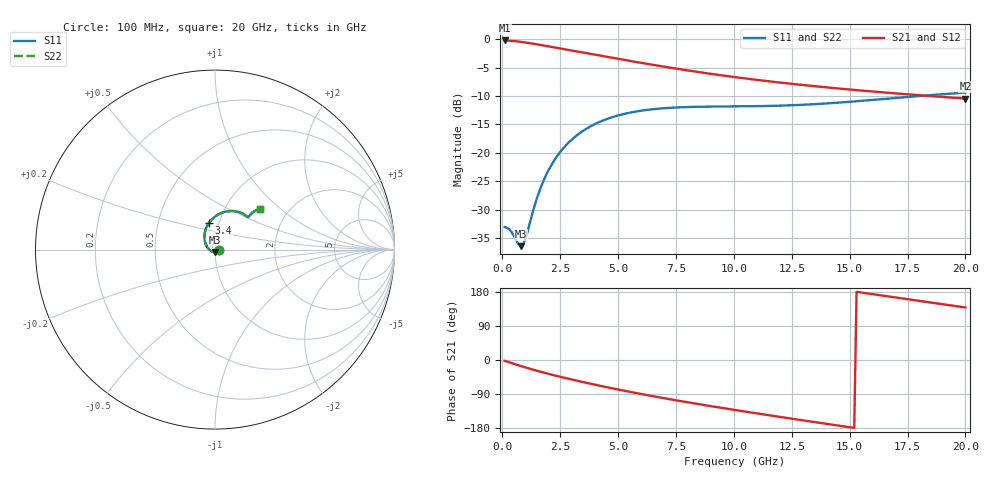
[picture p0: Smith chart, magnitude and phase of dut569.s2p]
! Touchstone file exported from HFSS 2024.1.0
!  File:  C:/UserFiles/LocalFiles/RDL_TSV_Batchsim/temp_RDL_TSV_569_1779754287.aedt
!  Generated:  08:24:17 AM May 26, 2026
!  Design:  RDL_TSV
!  Project:  temp_RDL_TSV_569_1779754287
!  Setup:  Setup1
!  Solution:  Sweep
! Variables:
!  dtsv = 14.09um
!  hbump = 3um
!  htsv = 82.66um
!  ldown = 628.71um
!  lrdl = 243.59um
!  p = 40
!  p1 = 49.43um
!  rhole = 10um
!  subl = 2860.49um
!  t = 450um
!  tdown = 2.73um
!  trdl = 2.53um
!  viad = 10um
!  wdown = 25.61um
!  wrdl = 10.5um
!  xbump = 18um
# GHz S MA R 50.000000
! Terminal data exported
! Port[1] = TM1_1_T1
! Port[2] = TM1_4_T1
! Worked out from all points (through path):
!   200 points, 100 MHz to 20 GHz, reference 50 ohm
!   highest |S21| = -0.20 dB at 100 MHz (marker M1); lowest = -10.4 dB at 20 GHz (marker M2)
!   group delay of S21, straight-line fit = 28.9 ps
!   lowest |S11| = -36.4 dB at 800 MHz (marker M3), VSWR 1.03, Z = 49.9 - j1.5 ohm
!   |S11| at or under -10 dB: start of sweep to 17.97 GHz
!   |S22| runs from -36.4 to -9.4 dB; largest |S21 - S12| = 7.6e-14
!   S11 on the Smith chart (normalised r, x): 100 MHz: 1.05, -0.01; 3.4 GHz: 0.90, +0.27; 20 GHz: 1.45, +0.74
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0.1  0.02223 -6.6  0.977 -2.1  0.977 -2.1  0.02223 -6.6
! Gamma 0 0 0 0
! Port Impedance 50 0 50 0
0.3  0.02122 -22.6  0.9724 -6.2  0.9724 -6.2  0.02122 -22.7
0.7  0.0157 -74.4  0.9552 -14.1  0.9552 -14.1  0.01571 -74.4
0.8  0.01508 -94.1  0.9497 -16.0  0.9497 -16.0  0.01509 -94.0
0.9  0.01562 -115.2  0.9437 -17.9  0.9437 -17.9  0.01562 -115.2
1  0.0175 -135.1  0.9375 -19.7  0.9375 -19.7  0.0175 -135.0
1.5  0.04011 168.1  0.9027 -28.5  0.9027 -28.5  0.04008 168.1
1.7  0.05191 156.1  0.888 -31.8  0.888 -31.8  0.05187 156.1
2  0.07051 142.4  0.8661 -36.6  0.8661 -36.6  0.07046 142.4
2.6  0.1077 122.3  0.8232 -45.7  0.8232 -45.7  0.1076 122.2
3.4  0.152 103.0  0.7696 -57.1  0.7696 -57.1  0.1518 103.0
3.5  0.1569 101.0  0.7632 -58.4  0.7632 -58.4  0.1568 100.9
4.2  0.1873 88.5  0.7197 -67.8  0.7197 -67.8  0.1871 88.5
4.9  0.2108 78.4  0.6789 -76.6  0.6789 -76.6  0.2105 78.4
5.8  0.2318 68.2  0.6305 -87.4  0.6305 -87.4  0.2315 68.1
6.8  0.2456 59.6  0.5823 -98.8  0.5823 -98.8  0.2453 59.5
8.4  0.2545 50.5  0.5174 -115.7  0.5174 -115.7  0.2541 50.5
10.1  0.2566 45.7  0.463 -132.4  0.463 -132.4  0.2561 45.7
11.7  0.2594 44.3  0.4225 -147.5  0.4225 -147.5  0.2589 44.3
13.4  0.2679 44.4  0.388 -163.1  0.388 -163.1  0.2674 44.4
16.7  0.3008 44.5  0.3375 167.5  0.3375 167.5  0.3003 44.5
20  0.3394 41.7  0.3008 138.6  0.3008 138.6  0.3389 41.7
